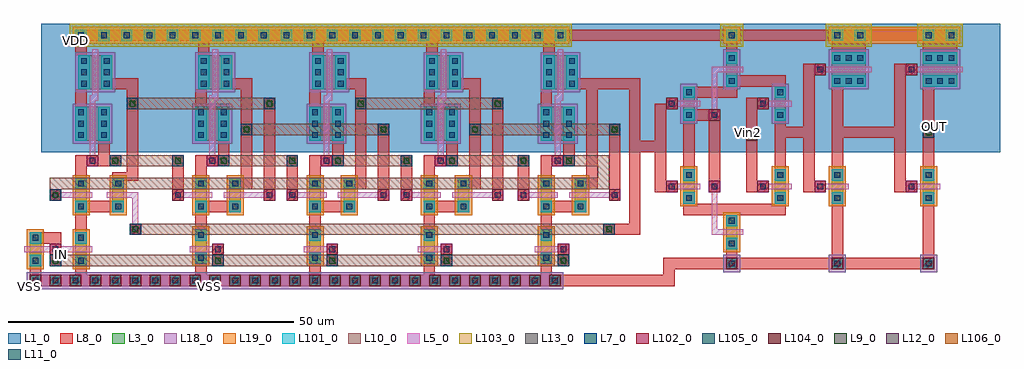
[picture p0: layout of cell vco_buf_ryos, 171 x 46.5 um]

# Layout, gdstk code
from math import pi, radians
import gdstk
lib = gdstk.Library(unit=1e-6, precision=1e-09)
def R(c, l, rs):  # rectangles x0, y0, x1, y1
    for r in rs: c.add(gdstk.rectangle(r[:2], r[2:], *l))
def A(c, l, x, y, w, h, nx, ny, dx, dy):  # array of equal rectangles
    R(c, l, [(x+i*dx, y+j*dy, x+i*dx+w, y+j*dy+h) for i in range(nx) for j in range(ny)])
L1_0 = (1, 0)
L3_0 = (3, 0)
L5_0 = (5, 0)
L7_0 = (7, 0)
L8_0 = (8, 0)
L9_0 = (9, 0)
L10_0 = (10, 0)
L11_0 = (11, 0)
L12_0 = (12, 0)
L13_0 = (13, 0)
L18_0 = (18, 0)
L19_0 = (19, 0)
L101_0 = (101, 0)
L102_0 = (102, 0)
L103_0 = (103, 0)
L104_0 = (104, 0)
L105_0 = (105, 0)
L106_0 = (106, 0)

pcont = lib.new_cell('pcont')
R(pcont, L5_0, [(-1,-1,1,1)])
R(pcont, L7_0, [(-0.5,-0.5,0.5,0.5)])
R(pcont, L8_0, [(-1,-1,1,1)])
R(pcont, L13_0, [(-0.5,-0.5,0.5,0.5)])
R(pcont, L102_0, [(-1,-1,1,1)])
pcont.add(gdstk.Label('pcont', (0,0), layer=13, texttype=0))

via = lib.new_cell('Via')
R(via, L8_0, [(-1,-1,1,1)])
R(via, L9_0, [(-0.5,-0.5,0.5,0.5)])
R(via, L10_0, [(-1,-1,1,1)])
R(via, L13_0, [(-0.5,-0.5,0.5,0.5)])
R(via, L105_0, [(-1,-1,1,1)])
via.add(gdstk.Label('via', (0,0), layer=13, texttype=0))

dcont = lib.new_cell('dcont')
R(dcont, L3_0, [(-1,-1,1,1)])
R(dcont, L7_0, [(-0.5,-0.5,0.5,0.5)])
R(dcont, L8_0, [(-1,-1,1,1)])
R(dcont, L13_0, [(-0.5,-0.5,0.5,0.5)])
R(dcont, L101_0, [(-1,-1,1,1)])
dcont.add(gdstk.Label('dcont', (0,0), layer=13, texttype=0))

nsubcont = lib.new_cell('nsubcont')
R(nsubcont, L1_0, [(-2,-2,2,2)])
R(nsubcont, L19_0, [(-1.5,-1.5,1.5,1.5)])
R(nsubcont, L103_0, [(-2,-2,2,2)])
nsubcont.add(gdstk.Reference(dcont, (0,0)))
nsubcont.add(gdstk.Label('NScont', (0,0), layer=13, texttype=0))

psubcont = lib.new_cell('psubcont')
R(psubcont, L18_0, [(-1.5,-1.5,1.5,1.5)])
R(psubcont, L104_0, [(-1,-1,1,1)])
psubcont.add(gdstk.Reference(dcont, (0,0)))
psubcont.add(gdstk.Label('PScon', (0,0), layer=13, texttype=0))

via2 = lib.new_cell('Via2')
R(via2, L10_0, [(-1,-1,1,1)])
R(via2, L11_0, [(-0.5,-0.5,0.5,0.5)])
R(via2, L12_0, [(-1,-1,1,1)])
R(via2, L13_0, [(-0.5,-0.5,0.5,0.5)])
R(via2, L106_0, [(-1,-1,1,1)])
via2.add(gdstk.Label('via', (0,0), layer=13, texttype=0))

vco_buf_ryos = lib.new_cell('vco_buf_ryos')
R(vco_buf_ryos, L1_0, [(-11,13,157,35.5)])
A(vco_buf_ryos, L3_0, 16, -4.5, 2, 2, 3, 1, 20, 0)
R(vco_buf_ryos, L3_0, [(-13,-5,-11,-3), (-5,-5,-3,-3), (76.5,-4.5,78.5,-2.5), (109,-4,111,2), (101.5,4,103.5,10), (117.5,4,119.5,10), (127.5,4,129.5,10), (143.5,4,145.5,10), (-5,4.5,-3,6.5), (1.5,4.5,3.5,6.5), (16,4.5,18,6.5), (16,4.5,18,6.5), (22,4.5,24,6.5), (22,4.5,24,6.5), (36,4.5,38,6.5), (36,4.5,38,6.5), (42,4.5,44,6.5), (42,4.5,44,6.5), (56,4.5,58,6.5), (56,4.5,58,6.5), (62,4.5,64,6.5), (62,4.5,64,6.5), (76.5,4.5,78.5,6.5), (76.5,4.5,78.5,6.5), (82.5,4.5,84.5,6.5), (82.5,4.5,84.5,6.5), (-5,15,1,21), (16,15,22,21), (16,15,22,21), (36,15,42,21), (36,15,42,21), (56,15,62,21), (56,15,62,21), (76.5,15,82.5,21), (76.5,15,82.5,21), (101.5,18.5,103.5,24.5), (117.5,18.5,119.5,24.5), (-4.5,24,1.5,30), (16.5,24,22.5,30), (16.5,24,22.5,30), (36.5,24,42.5,30), (36.5,24,42.5,30), (56.5,24,62.5,30), (56.5,24,62.5,30), (77,24,83,30), (77,24,83,30), (109,24.5,111,30.5), (127.5,24.5,133.5,30.5), (143.5,24.5,149.5,30.5)])
R(vco_buf_ryos, L5_0, [(-14,-4.5,-9.5,-3.5), (-7.5,5,-2,6), (13.5,5,19,6), (53.5,5,59,6), (53.5,5,59,6)])
A(vco_buf_ryos, L8_0, 16, -8.5, 2, 2, 3, 1, 20, 0)
A(vco_buf_ryos, L8_0, 16, -0.5, 2, 3, 3, 1, 20, 0)
A(vco_buf_ryos, L8_0, 18, 2.5, 4, 2, 3, 1, 20, 0)
A(vco_buf_ryos, L8_0, 24, 6.5, 2, 17.5, 3, 1, 20, 0)
A(vco_buf_ryos, L8_0, 20, 12.5, 2, 2.5, 3, 1, 20, 0)
A(vco_buf_ryos, L8_0, 16.5, 30, 2, 3, 3, 1, 20, 0)
R(vco_buf_ryos, L8_0, [(-11,-10.5,80,-8.5), (-13,-8.5,-11,-6.5), (76.5,-8.5,78.5,-6.5), (-11,-3,-7.5,-1), (-5,-1,-3,2.5), (76.5,-0.5,78.5,2.5), (-3,2.5,1.5,4.5), (78.5,2.5,82.5,4.5), (12,6.5,14,12), (12,6.5,14,12), (24,6.5,26,24), (28,6.5,30,20.5), (28,6.5,30,20.5), (32,6.5,34,10.5), (48,6.5,50,16), (52,6.5,54,12), (52,6.5,54,12), (64,6.5,66,24), (68,6.5,70,20.5), (68,6.5,70,20.5), (72.5,6.5,74.5,10.5), (84.5,6.5,86.5,24), (88.5,6.5,90.5,16), (1.5,8,6,9.5), (-5,8.5,-3,12.5), (16,8.5,18,12.5), (16,8.5,18,12.5), (36,8.5,38,12.5), (36,8.5,38,12.5), (56,8.5,58,12.5), (56,8.5,58,12.5), (76.5,8.5,78.5,12.5), (76.5,8.5,78.5,12.5), (4,9.5,6,24), (-1,10.5,1,12.5), (20,10.5,22,12.5), (20,10.5,22,12.5), (40,10.5,42,12.5), (40,10.5,42,12.5), (60,10.5,62,12.5), (60,10.5,62,12.5), (80.5,10.5,82.5,12.5), (80.5,10.5,82.5,12.5), (-1,12.5,1,15), (20,12.5,22,15), (60,12.5,62,15), (80.5,12.5,82.5,15), (93.5,13,97,15), (-5,21,-3,24), (16,21,18,24), (16,21,18,24), (36,21,38,24), (36,21,38,24), (56,21,58,24), (56,21,58,24), (76.5,21,78.5,24), (76.5,21,78.5,24), (1.5,24,6,26), (22.5,24,26,26), (22.5,24,26,26), (42.5,24,46,26), (42.5,24,46,26), (62.5,24,66,26), (62.5,24,66,26), (83,24,86.5,26), (83,24,86.5,26), (-5,30,-3,32.5), (77,30,79,33), (109,30.5,111,32.5), (127.5,30.5,133.5,32.5), (143.5,30.5,149.5,32.5), (-3,32.5,81,34.5), (81,32.5,109,34.5)])
R(vco_buf_ryos, L10_0, [(-7.5,-7,79.5,-5), (3,10.5,14,12.5), (22,10.5,32,12.5), (42,10.5,52,12.5), (62,10.5,72.5,12.5), (26,16,48,18), (66,16,88.5,18), (6,20.5,29.5,22.5), (46,20.5,68,22.5)])
R(vco_buf_ryos, L18_0, [(-13.5,-11,80.5,-8), (-5.5,14.5,1.5,21.5), (15.5,14.5,22.5,21.5), (15.5,14.5,22.5,21.5), (35.5,14.5,42.5,21.5), (35.5,14.5,42.5,21.5), (55.5,14.5,62.5,21.5), (55.5,14.5,62.5,21.5), (76,14.5,83,21.5), (76,14.5,83,21.5), (101,18,104,25), (117,18,120,25), (-5,23.5,2,30.5), (16,23.5,23,30.5), (16,23.5,23,30.5), (36,23.5,43,30.5), (36,23.5,43,30.5), (56,23.5,63,30.5), (56,23.5,63,30.5), (76.5,23.5,83.5,30.5), (76.5,23.5,83.5,30.5), (108.5,24,111.5,31), (127,24,134,31), (143,24,150,31)])
A(vco_buf_ryos, L19_0, 15.5, -7, 3, 7, 3, 1, 20, 0)
R(vco_buf_ryos, L19_0, [(-13.5,-7.5,-10.5,-0.5), (-5.5,-7.5,-2.5,-0.5), (76,-7,79,0), (108.5,-4.5,111.5,2.5), (-5.5,2,-2.5,9), (1,2,4,9), (15.5,2,18.5,9), (15.5,2,18.5,9), (21.5,2,24.5,9), (21.5,2,24.5,9), (35.5,2,38.5,9), (35.5,2,38.5,9), (41.5,2,44.5,9), (41.5,2,44.5,9), (55.5,2,58.5,9), (55.5,2,58.5,9), (61.5,2,64.5,9), (61.5,2,64.5,9), (76,2,79,9), (76,2,79,9), (82,2,85,9), (82,2,85,9), (101,3.5,104,10.5), (117,3.5,120,10.5), (127,3.5,130,10.5), (143,3.5,146,10.5), (-5.5,32,81.5,35), (127,32,150,35)])
vco_buf_ryos.add(gdstk.FlexPath([(128.5,4),(128.5,-5.5),(128.5,-5.5)], 2, ends="flush", simple_path=True, layer=8, datatype=0))  # L8_0
vco_buf_ryos.add(gdstk.FlexPath([(111,33.5),(147.5,33.5),(147.5,33.5)], 2, ends="flush", simple_path=True, layer=8, datatype=0))  # L8_0
vco_buf_ryos.add(gdstk.FlexPath([(144.5,4),(144.5,-5.5)], 2, ends="flush", simple_path=True, layer=8, datatype=0))  # L8_0
vco_buf_ryos.add(gdstk.FlexPath([(111,-6.5),(128,-6.5)], 2, ends="flush", simple_path=True, layer=8, datatype=0))  # L8_0
vco_buf_ryos.add(gdstk.FlexPath([(129.5,-6.5),(143.5,-6.5)], 2, ends="flush", simple_path=True, layer=8, datatype=0))  # L8_0
vco_buf_ryos.add(gdstk.FlexPath([(129.5,16.5),(138.5,16.5)], 2, ends="flush", simple_path=True, layer=8, datatype=0))  # L8_0
vco_buf_ryos.add(gdstk.FlexPath([(139.5,28.5),(139.5,6)], 2, ends="flush", simple_path=True, layer=8, datatype=0))  # L8_0
vco_buf_ryos.add(gdstk.FlexPath([(144.5,24.5),(144.5,10)], 2, ends="flush", simple_path=True, layer=8, datatype=0))  # L8_0
vco_buf_ryos.add(gdstk.FlexPath([(86.5,25),(93,25),(93,19),(93,19),(93,-0.5),(87.5,-0.5)], 2, ends="flush", simple_path=True, layer=8, datatype=0))  # L8_0
vco_buf_ryos.add(gdstk.FlexPath([(118.5,19.5),(118.5,10)], 2, ends="flush", simple_path=True, layer=8, datatype=0))  # L8_0
vco_buf_ryos.add(gdstk.FlexPath([(110,-4),(110,-5.5),(110,-5.5)], 2, ends="flush", simple_path=True, layer=8, datatype=0))  # L8_0
vco_buf_ryos.add(gdstk.FlexPath([(128.5,24.5),(128.5,10)], 2, ends="flush", simple_path=True, layer=8, datatype=0))  # L8_0
vco_buf_ryos.add(gdstk.FlexPath([(111,25.5),(119.5,25.5)], 2, ends="flush", simple_path=True, layer=8, datatype=0))  # L8_0
vco_buf_ryos.add(gdstk.FlexPath([(103.5,23.5),(111,23.5)], 2, ends="flush", simple_path=True, layer=8, datatype=0))  # L8_0
vco_buf_ryos.add(gdstk.FlexPath([(102.5,18.5),(102.5,10)], 2, ends="flush", simple_path=True, layer=8, datatype=0))  # L8_0
vco_buf_ryos.add(gdstk.FlexPath([(103.5,19.5),(106,19.5)], 2, ends="flush", simple_path=True, layer=8, datatype=0))  # L8_0
vco_buf_ryos.add(gdstk.FlexPath([(107,18.5),(107,8)], 2, ends="flush", simple_path=True, layer=8, datatype=0))  # L8_0
vco_buf_ryos.add(gdstk.FlexPath([(101.5,3),(119.5,3)], 2, ends="flush", simple_path=True, layer=8, datatype=0))  # L8_0
vco_buf_ryos.add(gdstk.FlexPath([(119.5,16.5),(122.5,16.5)], 2, ends="flush", simple_path=True, layer=8, datatype=0))  # L8_0
vco_buf_ryos.add(gdstk.FlexPath([(113.5,22.5),(113.5,6)], 2, ends="flush", simple_path=True, layer=8, datatype=0))  # L8_0
vco_buf_ryos.add(gdstk.FlexPath([(123.5,28.5),(123.5,6)], 2, ends="flush", simple_path=True, layer=8, datatype=0))  # L8_0
vco_buf_ryos.add(gdstk.FlexPath([(97.5,21.5),(97.5,6)], 2, ends="flush", simple_path=True, layer=8, datatype=0))  # L8_0
vco_buf_ryos.add(gdstk.FlexPath([(109,-6.5),(99,-6.5),(99,-9.5),(80,-9.5)], 2, ends="flush", simple_path=True, layer=8, datatype=0))  # L8_0
vco_buf_ryos.add(gdstk.FlexPath([(-4,-6.5),(-4,-10)], 2, ends="flush", simple_path=True, layer=8, datatype=0))  # L8_0
vco_buf_ryos.add(gdstk.FlexPath([(88.5,7.5),(-8.5,7.5),(-8.5,4.5)], 2, ends="flush", simple_path=True, layer=10, datatype=0))  # L10_0
vco_buf_ryos.add(gdstk.FlexPath([(87.5,-0.5),(6.5,-0.5)], 2, ends="flush", simple_path=True, layer=10, datatype=0))  # L10_0
vco_buf_ryos.add(gdstk.FlexPath([(82.5,11.5),(87.5,11.5),(87.5,7.5)], 2, ends="flush", simple_path=True, layer=10, datatype=0))  # L10_0
vco_buf_ryos.add(gdstk.FlexPath([(142.5,7),(146.5,7)], 1, ends="flush", simple_path=True, layer=5, datatype=0))  # L5_0
vco_buf_ryos.add(gdstk.FlexPath([(142,27.5),(150.5,27.5)], 1, ends="flush", simple_path=True, layer=5, datatype=0))  # L5_0
vco_buf_ryos.add(gdstk.FlexPath([(126.5,7),(130.5,7)], 1, ends="flush", simple_path=True, layer=5, datatype=0))  # L5_0
vco_buf_ryos.add(gdstk.FlexPath([(116.5,21.5),(120.5,21.5)], 1, ends="flush", simple_path=True, layer=5, datatype=0))  # L5_0
vco_buf_ryos.add(gdstk.FlexPath([(108,27.5),(112,27.5)], 1, ends="flush", simple_path=True, layer=5, datatype=0))  # L5_0
vco_buf_ryos.add(gdstk.FlexPath([(100.5,21.5),(104.5,21.5)], 1, ends="flush", simple_path=True, layer=5, datatype=0))  # L5_0
vco_buf_ryos.add(gdstk.FlexPath([(126,27.5),(134.5,27.5)], 1, ends="flush", simple_path=True, layer=5, datatype=0))  # L5_0
vco_buf_ryos.add(gdstk.FlexPath([(108,27.5),(107,27.5),(107,20.5)], 1, ends="flush", simple_path=True, layer=5, datatype=0))  # L5_0
vco_buf_ryos.add(gdstk.FlexPath([(116.5,7),(120.5,7)], 1, ends="flush", simple_path=True, layer=5, datatype=0))  # L5_0
vco_buf_ryos.add(gdstk.FlexPath([(100.5,7),(104.5,7)], 1, ends="flush", simple_path=True, layer=5, datatype=0))  # L5_0
vco_buf_ryos.add(gdstk.FlexPath([(108,-1),(112,-1)], 1, ends="flush", simple_path=True, layer=5, datatype=0))  # L5_0
vco_buf_ryos.add(gdstk.FlexPath([(107,6),(107,-1),(108,-1)], 1, ends="flush", simple_path=True, layer=5, datatype=0))  # L5_0
vco_buf_ryos.add(gdstk.FlexPath([(21,5.5),(29,5.5),(29,5.5)], 1, ends="flush", simple_path=True, layer=5, datatype=0))  # L5_0
vco_buf_ryos.add(gdstk.FlexPath([(0.5,5.5),(4.5,5.5),(4.5,5.5)], 1, ends="flush", simple_path=True, layer=5, datatype=0))  # L5_0
vco_buf_ryos.add(gdstk.FlexPath([(39.5,31),(39.5,22.5),(39,22.5),(39,22)], 1, ends="flush", simple_path=True, layer=5, datatype=0))  # L5_0
vco_buf_ryos.add(gdstk.FlexPath([(39.5,31),(39.5,22.5),(39,22.5),(39,22)], 1, ends="flush", simple_path=True, layer=5, datatype=0))  # L5_0
vco_buf_ryos.add(gdstk.FlexPath([(39,22),(39,12.5),(39,12.5),(39,12.5),(39,12.5)], 1, ends="flush", simple_path=True, layer=5, datatype=0))  # L5_0
vco_buf_ryos.add(gdstk.FlexPath([(41,5.5),(49,5.5),(49,5.5)], 1, ends="flush", simple_path=True, layer=5, datatype=0))  # L5_0
vco_buf_ryos.add(gdstk.FlexPath([(41,5.5),(49,5.5),(49,5.5)], 1, ends="flush", simple_path=True, layer=5, datatype=0))  # L5_0
vco_buf_ryos.add(gdstk.FlexPath([(55,-4),(59,-4),(59,-4)], 1, ends="flush", simple_path=True, layer=5, datatype=0))  # L5_0
vco_buf_ryos.add(gdstk.FlexPath([(39,5.5),(34.5,5.5),(34,5.5)], 1, ends="flush", simple_path=True, layer=5, datatype=0))  # L5_0
vco_buf_ryos.add(gdstk.FlexPath([(61,5.5),(69,5.5),(69,5.5)], 1, ends="flush", simple_path=True, layer=5, datatype=0))  # L5_0
vco_buf_ryos.add(gdstk.FlexPath([(59.5,31),(59.5,22.5),(59,22.5),(59,22)], 1, ends="flush", simple_path=True, layer=5, datatype=0))  # L5_0
vco_buf_ryos.add(gdstk.FlexPath([(59,22),(59,10.5),(59,10.5)], 1, ends="flush", simple_path=True, layer=5, datatype=0))  # L5_0
vco_buf_ryos.add(gdstk.FlexPath([(61,5.5),(69,5.5),(69,5.5)], 1, ends="flush", simple_path=True, layer=5, datatype=0))  # L5_0
vco_buf_ryos.add(gdstk.FlexPath([(59,22),(59,10.5),(59,10.5)], 1, ends="flush", simple_path=True, layer=5, datatype=0))  # L5_0
vco_buf_ryos.add(gdstk.FlexPath([(59.5,31),(59.5,22.5),(59,22.5),(59,22)], 1, ends="flush", simple_path=True, layer=5, datatype=0))  # L5_0
vco_buf_ryos.add(gdstk.FlexPath([(80,31),(80,22.5),(79.5,22.5),(79.5,22)], 1, ends="flush", simple_path=True, layer=5, datatype=0))  # L5_0
vco_buf_ryos.add(gdstk.FlexPath([(80,31),(80,22.5),(79.5,22.5),(79.5,22)], 1, ends="flush", simple_path=True, layer=5, datatype=0))  # L5_0
vco_buf_ryos.add(gdstk.FlexPath([(79.5,22),(79.5,12.5),(79.5,12.5),(79.5,12.5),(79.5,12.5)], 1, ends="flush", simple_path=True, layer=5, datatype=0))  # L5_0
vco_buf_ryos.add(gdstk.FlexPath([(81.5,5.5),(89.5,5.5),(89.5,5.5)], 1, ends="flush", simple_path=True, layer=5, datatype=0))  # L5_0
vco_buf_ryos.add(gdstk.FlexPath([(81.5,5.5),(89.5,5.5),(89.5,5.5)], 1, ends="flush", simple_path=True, layer=5, datatype=0))  # L5_0
vco_buf_ryos.add(gdstk.FlexPath([(79.5,5.5),(75,5.5),(74.5,5.5)], 1, ends="flush", simple_path=True, layer=5, datatype=0))  # L5_0
vco_buf_ryos.add(gdstk.FlexPath([(75.5,-4),(79.5,-4),(79.5,-4)], 1, ends="flush", simple_path=True, layer=5, datatype=0))  # L5_0
vco_buf_ryos.add(gdstk.FlexPath([(4.5,5.5),(5.5,5.5),(5.5,0.5)], 1, ends="flush", simple_path=True, layer=5, datatype=0))  # L5_0
vco_buf_ryos.add(gdstk.FlexPath([(-8,-4),(-2,-4)], 1, ends="flush", simple_path=True, layer=5, datatype=0))  # L5_0
vco_buf_ryos.add(gdstk.FlexPath([(15,-4),(19,-4),(19,-4)], 1, ends="flush", simple_path=True, layer=5, datatype=0))  # L5_0
vco_buf_ryos.add(gdstk.FlexPath([(35,-4),(39,-4),(39,-4)], 1, ends="flush", simple_path=True, layer=5, datatype=0))  # L5_0
vco_buf_ryos.add(gdstk.FlexPath([(19.5,31),(19.5,22.5),(19,22.5),(19,22)], 1, ends="flush", simple_path=True, layer=5, datatype=0))  # L5_0
vco_buf_ryos.add(gdstk.FlexPath([(19,22),(19,10.5),(19,10.5)], 1, ends="flush", simple_path=True, layer=5, datatype=0))  # L5_0
vco_buf_ryos.add(gdstk.FlexPath([(19,22),(19,10.5),(19,10.5)], 1, ends="flush", simple_path=True, layer=5, datatype=0))  # L5_0
vco_buf_ryos.add(gdstk.FlexPath([(19.5,31),(19.5,22.5),(19,22.5),(19,22)], 1, ends="flush", simple_path=True, layer=5, datatype=0))  # L5_0
vco_buf_ryos.add(gdstk.FlexPath([(-1.5,31),(-1.5,22.5),(-2,22.5),(-2,22)], 1, ends="flush", simple_path=True, layer=5, datatype=0))  # L5_0
vco_buf_ryos.add(gdstk.FlexPath([(-2,22),(-2,10.5),(-2,10.5)], 1, ends="flush", simple_path=True, layer=5, datatype=0))  # L5_0
vco_buf_ryos.add(gdstk.Reference(pcont, (-2,11.5), rotation=pi))
vco_buf_ryos.add(gdstk.Reference(via, (2,11.5), rotation=pi))
vco_buf_ryos.add(gdstk.Reference(via, (13,11.5), rotation=pi))
vco_buf_ryos.add(gdstk.Reference(pcont, (19,11.5), rotation=pi))
vco_buf_ryos.add(gdstk.Reference(pcont, (19,11.5), rotation=pi))
vco_buf_ryos.add(gdstk.Reference(via, (13,11.5), rotation=pi))
vco_buf_ryos.add(gdstk.Reference(pcont, (39,11.5), rotation=pi))
vco_buf_ryos.add(gdstk.Reference(pcont, (39,11.5), rotation=pi))
vco_buf_ryos.add(gdstk.Reference(via, (41,11.5), rotation=pi))
vco_buf_ryos.add(gdstk.Reference(via, (21,11.5), rotation=pi))
vco_buf_ryos.add(gdstk.Reference(via, (33,11.5), rotation=pi))
vco_buf_ryos.add(gdstk.Reference(via, (53,11.5), rotation=pi))
vco_buf_ryos.add(gdstk.Reference(pcont, (59,11.5), rotation=pi))
vco_buf_ryos.add(gdstk.Reference(pcont, (59,11.5), rotation=pi))
vco_buf_ryos.add(gdstk.Reference(via, (53,11.5), rotation=pi))
vco_buf_ryos.add(gdstk.Reference(via, (61,11.5), rotation=pi))
vco_buf_ryos.add(gdstk.Reference(pcont, (79.5,11.5), rotation=pi))
vco_buf_ryos.add(gdstk.Reference(pcont, (79.5,11.5), rotation=pi))
vco_buf_ryos.add(gdstk.Reference(via, (81.5,11.5), rotation=pi))
vco_buf_ryos.add(gdstk.Reference(via, (73.5,11.5), rotation=pi))
vco_buf_ryos.add(gdstk.Reference(via, (69,21.5), rotation=pi))
vco_buf_ryos.add(gdstk.Reference(via, (69,21.5), rotation=pi))
vco_buf_ryos.add(gdstk.Reference(nsubcont, (68,33.5), rotation=pi))
vco_buf_ryos.add(gdstk.Reference(pcont, (69,5.5), rotation=pi))
vco_buf_ryos.add(gdstk.Reference(psubcont, (68.5,-9.5), rotation=pi))
vco_buf_ryos.add(gdstk.Reference(pcont, (69,5.5), rotation=pi))
vco_buf_ryos.add(gdstk.Reference(dcont, (82,29), rotation=pi))
vco_buf_ryos.add(gdstk.Reference(dcont, (78,29), rotation=pi))
vco_buf_ryos.add(gdstk.Reference(dcont, (81.5,16), rotation=pi))
vco_buf_ryos.add(gdstk.Reference(dcont, (81.5,18), rotation=pi))
vco_buf_ryos.add(gdstk.Reference(dcont, (77.5,16), rotation=pi))
vco_buf_ryos.add(gdstk.Reference(dcont, (77.5,18), rotation=pi))
vco_buf_ryos.add(gdstk.Reference(dcont, (81.5,20), rotation=pi))
vco_buf_ryos.add(gdstk.Reference(dcont, (77.5,20), rotation=pi))
vco_buf_ryos.add(gdstk.Reference(dcont, (77.5,20), rotation=pi))
vco_buf_ryos.add(gdstk.Reference(dcont, (81.5,20), rotation=pi))
vco_buf_ryos.add(gdstk.Reference(dcont, (77.5,18), rotation=pi))
vco_buf_ryos.add(gdstk.Reference(dcont, (77.5,16), rotation=pi))
vco_buf_ryos.add(gdstk.Reference(dcont, (81.5,18), rotation=pi))
vco_buf_ryos.add(gdstk.Reference(dcont, (81.5,16), rotation=pi))
vco_buf_ryos.add(gdstk.Reference(dcont, (78,29), rotation=pi))
vco_buf_ryos.add(gdstk.Reference(dcont, (82,29), rotation=pi))
vco_buf_ryos.add(gdstk.Reference(dcont, (78,27), rotation=pi))
vco_buf_ryos.add(gdstk.Reference(dcont, (78,25), rotation=pi))
vco_buf_ryos.add(gdstk.Reference(dcont, (82,27), rotation=pi))
vco_buf_ryos.add(gdstk.Reference(dcont, (82,25), rotation=pi))
vco_buf_ryos.add(gdstk.Reference(via, (89.5,17), rotation=pi))
vco_buf_ryos.add(gdstk.Reference(via, (89.5,17), rotation=pi))
vco_buf_ryos.add(gdstk.Reference(dcont, (82,25), rotation=pi))
vco_buf_ryos.add(gdstk.Reference(nsubcont, (72,33.5), rotation=pi))
vco_buf_ryos.add(gdstk.Reference(nsubcont, (76,33.5), rotation=pi))
vco_buf_ryos.add(gdstk.Reference(nsubcont, (80,33.5), rotation=pi))
vco_buf_ryos.add(gdstk.Reference(via, (113.5,16), rotation=pi))
vco_buf_ryos.add(gdstk.Reference(via2, (113.5,16), rotation=pi))
vco_buf_ryos.add(gdstk.Reference(dcont, (102.5,23.5), rotation=pi))
vco_buf_ryos.add(gdstk.Reference(pcont, (99.5,21.5), rotation=pi))
vco_buf_ryos.add(gdstk.Reference(dcont, (130.5,25.5), rotation=pi))
vco_buf_ryos.add(gdstk.Reference(dcont, (130.5,29.5), rotation=pi))
vco_buf_ryos.add(gdstk.Reference(dcont, (128.5,29.5), rotation=pi))
vco_buf_ryos.add(gdstk.Reference(dcont, (128.5,25.5), rotation=pi))
vco_buf_ryos.add(gdstk.Reference(dcont, (132.5,25.5), rotation=pi))
vco_buf_ryos.add(gdstk.Reference(dcont, (132.5,29.5), rotation=pi))
vco_buf_ryos.add(gdstk.Reference(pcont, (125.5,27.5), rotation=pi))
vco_buf_ryos.add(gdstk.Reference(dcont, (118.5,19.5), rotation=pi))
vco_buf_ryos.add(gdstk.Reference(dcont, (118.5,23.5), rotation=pi))
vco_buf_ryos.add(gdstk.Reference(pcont, (115.5,21.5), rotation=pi))
vco_buf_ryos.add(gdstk.Reference(dcont, (110,25.5), rotation=pi))
vco_buf_ryos.add(gdstk.Reference(dcont, (110,29.5), rotation=pi))
vco_buf_ryos.add(gdstk.Reference(pcont, (107,19.5), rotation=pi))
vco_buf_ryos.add(gdstk.Reference(dcont, (102.5,19.5), rotation=pi))
vco_buf_ryos.add(gdstk.Reference(nsubcont, (110,33.5), rotation=pi))
vco_buf_ryos.add(gdstk.Reference(dcont, (82,27), rotation=pi))
vco_buf_ryos.add(gdstk.Reference(dcont, (78,25), rotation=pi))
vco_buf_ryos.add(gdstk.Reference(dcont, (78,27), rotation=pi))
vco_buf_ryos.add(gdstk.Reference(dcont, (146.5,25.5), rotation=pi))
vco_buf_ryos.add(gdstk.Reference(dcont, (146.5,29.5), rotation=pi))
vco_buf_ryos.add(gdstk.Reference(dcont, (144.5,29.5), rotation=pi))
vco_buf_ryos.add(gdstk.Reference(dcont, (144.5,25.5), rotation=pi))
vco_buf_ryos.add(gdstk.Reference(dcont, (148.5,25.5), rotation=pi))
vco_buf_ryos.add(gdstk.Reference(dcont, (148.5,29.5), rotation=pi))
vco_buf_ryos.add(gdstk.Reference(nsubcont, (128.5,33.5), rotation=pi))
vco_buf_ryos.add(gdstk.Reference(nsubcont, (132.5,33.5), rotation=pi))
vco_buf_ryos.add(gdstk.Reference(nsubcont, (144.5,33.5), rotation=pi))
vco_buf_ryos.add(gdstk.Reference(nsubcont, (148.5,33.5), rotation=pi))
vco_buf_ryos.add(gdstk.Reference(via, (144.5,16.5), rotation=pi))
vco_buf_ryos.add(gdstk.Reference(pcont, (141.5,27.5), rotation=pi))
vco_buf_ryos.add(gdstk.Reference(nsubcont, (28,33.5), rotation=pi))
vco_buf_ryos.add(gdstk.Reference(nsubcont, (48,33.5), rotation=pi))
vco_buf_ryos.add(gdstk.Reference(nsubcont, (52,33.5), rotation=pi))
vco_buf_ryos.add(gdstk.Reference(nsubcont, (56,33.5), rotation=pi))
vco_buf_ryos.add(gdstk.Reference(nsubcont, (40,33.5), rotation=pi))
vco_buf_ryos.add(gdstk.Reference(dcont, (41.5,25), rotation=pi))
vco_buf_ryos.add(gdstk.Reference(dcont, (37.5,25), rotation=pi))
vco_buf_ryos.add(gdstk.Reference(dcont, (37.5,27), rotation=pi))
vco_buf_ryos.add(gdstk.Reference(dcont, (37.5,29), rotation=pi))
vco_buf_ryos.add(gdstk.Reference(dcont, (37.5,29), rotation=pi))
vco_buf_ryos.add(gdstk.Reference(dcont, (37.5,27), rotation=pi))
vco_buf_ryos.add(gdstk.Reference(dcont, (37.5,25), rotation=pi))
vco_buf_ryos.add(gdstk.Reference(nsubcont, (44,33.5), rotation=pi))
vco_buf_ryos.add(gdstk.Reference(nsubcont, (32,33.5), rotation=pi))
vco_buf_ryos.add(gdstk.Reference(nsubcont, (36,33.5), rotation=pi))
vco_buf_ryos.add(gdstk.Reference(dcont, (41.5,27), rotation=pi))
vco_buf_ryos.add(gdstk.Reference(dcont, (57.5,25), rotation=pi))
vco_buf_ryos.add(gdstk.Reference(dcont, (57.5,29), rotation=pi))
vco_buf_ryos.add(gdstk.Reference(dcont, (57.5,27), rotation=pi))
vco_buf_ryos.add(gdstk.Reference(dcont, (57.5,27), rotation=pi))
vco_buf_ryos.add(gdstk.Reference(dcont, (57.5,25), rotation=pi))
vco_buf_ryos.add(gdstk.Reference(dcont, (41.5,29), rotation=pi))
vco_buf_ryos.add(gdstk.Reference(dcont, (57.5,29), rotation=pi))
vco_buf_ryos.add(gdstk.Reference(dcont, (41.5,29), rotation=pi))
vco_buf_ryos.add(gdstk.Reference(dcont, (41.5,27), rotation=pi))
vco_buf_ryos.add(gdstk.Reference(dcont, (41.5,25), rotation=pi))
vco_buf_ryos.add(gdstk.Reference(dcont, (61.5,29), rotation=pi))
vco_buf_ryos.add(gdstk.Reference(nsubcont, (64,33.5), rotation=pi))
vco_buf_ryos.add(gdstk.Reference(dcont, (61.5,25), rotation=pi))
vco_buf_ryos.add(gdstk.Reference(dcont, (61.5,27), rotation=pi))
vco_buf_ryos.add(gdstk.Reference(dcont, (61.5,29), rotation=pi))
vco_buf_ryos.add(gdstk.Reference(dcont, (61.5,27), rotation=pi))
vco_buf_ryos.add(gdstk.Reference(dcont, (61.5,25), rotation=pi))
vco_buf_ryos.add(gdstk.Reference(nsubcont, (60,33.5), rotation=pi))
vco_buf_ryos.add(gdstk.Reference(dcont, (-3.5,25), rotation=pi))
vco_buf_ryos.add(gdstk.Reference(dcont, (17.5,29), rotation=pi))
vco_buf_ryos.add(gdstk.Reference(dcont, (21.5,29), rotation=pi))
vco_buf_ryos.add(gdstk.Reference(dcont, (17.5,27), rotation=pi))
vco_buf_ryos.add(gdstk.Reference(dcont, (17.5,25), rotation=pi))
vco_buf_ryos.add(gdstk.Reference(dcont, (21.5,27), rotation=pi))
vco_buf_ryos.add(gdstk.Reference(dcont, (21.5,25), rotation=pi))
vco_buf_ryos.add(gdstk.Reference(dcont, (0.5,27), rotation=pi))
vco_buf_ryos.add(gdstk.Reference(dcont, (0.5,25), rotation=pi))
vco_buf_ryos.add(gdstk.Reference(nsubcont, (0,33.5), rotation=pi))
vco_buf_ryos.add(gdstk.Reference(nsubcont, (-4,33.5), rotation=pi))
vco_buf_ryos.add(gdstk.Reference(dcont, (0.5,29), rotation=pi))
vco_buf_ryos.add(gdstk.Reference(dcont, (21.5,25), rotation=pi))
vco_buf_ryos.add(gdstk.Reference(dcont, (21.5,27), rotation=pi))
vco_buf_ryos.add(gdstk.Reference(dcont, (17.5,25), rotation=pi))
vco_buf_ryos.add(gdstk.Reference(dcont, (17.5,27), rotation=pi))
vco_buf_ryos.add(gdstk.Reference(dcont, (21.5,29), rotation=pi))
vco_buf_ryos.add(gdstk.Reference(dcont, (17.5,29), rotation=pi))
vco_buf_ryos.add(gdstk.Reference(nsubcont, (4,33.5), rotation=pi))
vco_buf_ryos.add(gdstk.Reference(nsubcont, (8,33.5), rotation=pi))
vco_buf_ryos.add(gdstk.Reference(nsubcont, (12,33.5), rotation=pi))
vco_buf_ryos.add(gdstk.Reference(nsubcont, (16,33.5), rotation=pi))
vco_buf_ryos.add(gdstk.Reference(nsubcont, (20,33.5), rotation=pi))
vco_buf_ryos.add(gdstk.Reference(nsubcont, (24,33.5), rotation=pi))
vco_buf_ryos.add(gdstk.Reference(dcont, (-3.5,29), rotation=pi))
vco_buf_ryos.add(gdstk.Reference(dcont, (-3.5,27), rotation=pi))
vco_buf_ryos.add(gdstk.Reference(dcont, (21,20), rotation=pi))
vco_buf_ryos.add(gdstk.Reference(dcont, (17,18), rotation=pi))
vco_buf_ryos.add(gdstk.Reference(dcont, (-4,20), rotation=pi))
vco_buf_ryos.add(gdstk.Reference(dcont, (-4,18), rotation=pi))
vco_buf_ryos.add(gdstk.Reference(dcont, (0,16), rotation=pi))
vco_buf_ryos.add(gdstk.Reference(via, (5,21.5), rotation=pi))
vco_buf_ryos.add(gdstk.Reference(dcont, (0,20), rotation=pi))
vco_buf_ryos.add(gdstk.Reference(dcont, (-4,16), rotation=pi))
vco_buf_ryos.add(gdstk.Reference(via, (25,17), rotation=pi))
vco_buf_ryos.add(gdstk.Reference(dcont, (21,16), rotation=pi))
vco_buf_ryos.add(gdstk.Reference(dcont, (21,18), rotation=pi))
vco_buf_ryos.add(gdstk.Reference(dcont, (17,16), rotation=pi))
vco_buf_ryos.add(gdstk.Reference(dcont, (21,18), rotation=pi))
vco_buf_ryos.add(gdstk.Reference(dcont, (21,16), rotation=pi))
vco_buf_ryos.add(gdstk.Reference(dcont, (0,18), rotation=pi))
vco_buf_ryos.add(gdstk.Reference(dcont, (17,16), rotation=pi))
vco_buf_ryos.add(gdstk.Reference(dcont, (17,18), rotation=pi))
vco_buf_ryos.add(gdstk.Reference(dcont, (21,20), rotation=pi))
vco_buf_ryos.add(gdstk.Reference(dcont, (17,20), rotation=pi))
vco_buf_ryos.add(gdstk.Reference(dcont, (17,20), rotation=pi))
vco_buf_ryos.add(gdstk.Reference(dcont, (37,20), rotation=pi))
vco_buf_ryos.add(gdstk.Reference(via, (29,21.5), rotation=pi))
vco_buf_ryos.add(gdstk.Reference(dcont, (41,20), rotation=pi))
vco_buf_ryos.add(gdstk.Reference(dcont, (41,18), rotation=pi))
vco_buf_ryos.add(gdstk.Reference(dcont, (41,16), rotation=pi))
vco_buf_ryos.add(gdstk.Reference(dcont, (41,16), rotation=pi))
vco_buf_ryos.add(gdstk.Reference(via, (45,21.5), rotation=pi))
vco_buf_ryos.add(gdstk.Reference(dcont, (41,18), rotation=pi))
vco_buf_ryos.add(gdstk.Reference(dcont, (57,16), rotation=pi))
vco_buf_ryos.add(gdstk.Reference(dcont, (57,18), rotation=pi))
vco_buf_ryos.add(gdstk.Reference(dcont, (37,20), rotation=pi))
vco_buf_ryos.add(gdstk.Reference(dcont, (57,20), rotation=pi))
vco_buf_ryos.add(gdstk.Reference(dcont, (37,18), rotation=pi))
vco_buf_ryos.add(gdstk.Reference(via, (49,17), rotation=pi))
vco_buf_ryos.add(gdstk.Reference(via, (49,17), rotation=pi))
vco_buf_ryos.add(gdstk.Reference(via, (65,17), rotation=pi))
vco_buf_ryos.add(gdstk.Reference(via, (29,21.5), rotation=pi))
vco_buf_ryos.add(gdstk.Reference(dcont, (61,16), rotation=pi))
vco_buf_ryos.add(gdstk.Reference(dcont, (61,18), rotation=pi))
vco_buf_ryos.add(gdstk.Reference(dcont, (37,16), rotation=pi))
vco_buf_ryos.add(gdstk.Reference(dcont, (61,20), rotation=pi))
vco_buf_ryos.add(gdstk.Reference(dcont, (61,20), rotation=pi))
vco_buf_ryos.add(gdstk.Reference(dcont, (61,18), rotation=pi))
vco_buf_ryos.add(gdstk.Reference(dcont, (61,16), rotation=pi))
vco_buf_ryos.add(gdstk.Reference(dcont, (57,20), rotation=pi))
vco_buf_ryos.add(gdstk.Reference(dcont, (41,20), rotation=pi))
vco_buf_ryos.add(gdstk.Reference(dcont, (57,18), rotation=pi))
vco_buf_ryos.add(gdstk.Reference(dcont, (37,16), rotation=pi))
vco_buf_ryos.add(gdstk.Reference(dcont, (37,18), rotation=pi))
vco_buf_ryos.add(gdstk.Reference(dcont, (57,16), rotation=pi))
vco_buf_ryos.add(gdstk.Reference(psubcont, (12.5,-9.5), rotation=pi))
vco_buf_ryos.add(gdstk.Reference(psubcont, (9,-9.5), rotation=pi))
vco_buf_ryos.add(gdstk.Reference(psubcont, (5.5,-9.5), rotation=pi))
vco_buf_ryos.add(gdstk.Reference(psubcont, (2,-9.5), rotation=pi))
vco_buf_ryos.add(gdstk.Reference(psubcont, (-1.5,-9.5), rotation=pi))
vco_buf_ryos.add(gdstk.Reference(psubcont, (-5,-9.5), rotation=pi))
vco_buf_ryos.add(gdstk.Reference(psubcont, (-8.5,-9.5), rotation=pi))
vco_buf_ryos.add(gdstk.Reference(psubcont, (-12,-9.5), rotation=pi))
vco_buf_ryos.add(gdstk.Reference(psubcont, (37,-9.5), rotation=pi))
vco_buf_ryos.add(gdstk.Reference(psubcont, (33.5,-9.5), rotation=pi))
vco_buf_ryos.add(gdstk.Reference(psubcont, (30,-9.5), rotation=pi))
vco_buf_ryos.add(gdstk.Reference(psubcont, (26.5,-9.5), rotation=pi))
vco_buf_ryos.add(gdstk.Reference(psubcont, (23,-9.5), rotation=pi))
vco_buf_ryos.add(gdstk.Reference(psubcont, (19.5,-9.5), rotation=pi))
vco_buf_ryos.add(gdstk.Reference(dcont, (57,3.5), rotation=pi))
vco_buf_ryos.add(gdstk.Reference(dcont, (57,7.5), rotation=pi))
vco_buf_ryos.add(gdstk.Reference(dcont, (43,3.5), rotation=pi))
vco_buf_ryos.add(gdstk.Reference(pcont, (49,5.5), rotation=pi))
vco_buf_ryos.add(gdstk.Reference(pcont, (49,5.5), rotation=pi))
vco_buf_ryos.add(gdstk.Reference(via, (40,-6), rotation=pi))
vco_buf_ryos.add(gdstk.Reference(pcont, (40,-4), rotation=pi))
vco_buf_ryos.add(gdstk.Reference(dcont, (43,3.5), rotation=pi))
vco_buf_ryos.add(gdstk.Reference(dcont, (57,-5.5), rotation=pi))
vco_buf_ryos.add(gdstk.Reference(dcont, (57,-1.5), rotation=pi))
vco_buf_ryos.add(gdstk.Reference(dcont, (37,-1.5), rotation=pi))
vco_buf_ryos.add(gdstk.Reference(dcont, (57,7.5), rotation=pi))
vco_buf_ryos.add(gdstk.Reference(dcont, (57,3.5), rotation=pi))
vco_buf_ryos.add(gdstk.Reference(pcont, (53,5.5), rotation=pi))
vco_buf_ryos.add(gdstk.Reference(dcont, (43,7.5), rotation=pi))
vco_buf_ryos.add(gdstk.Reference(dcont, (-12,-6), rotation=pi))
vco_buf_ryos.add(gdstk.Reference(dcont, (43,7.5), rotation=pi))
vco_buf_ryos.add(gdstk.Reference(pcont, (53,5.5), rotation=pi))
vco_buf_ryos.add(gdstk.Reference(psubcont, (47.5,-9.5), rotation=pi))
vco_buf_ryos.add(gdstk.Reference(psubcont, (44,-9.5), rotation=pi))
vco_buf_ryos.add(gdstk.Reference(psubcont, (40.5,-9.5), rotation=pi))
vco_buf_ryos.add(gdstk.Reference(psubcont, (58,-9.5), rotation=pi))
vco_buf_ryos.add(gdstk.Reference(psubcont, (54.5,-9.5), rotation=pi))
vco_buf_ryos.add(gdstk.Reference(psubcont, (51,-9.5), rotation=pi))
vco_buf_ryos.add(gdstk.Reference(dcont, (-12,-2), rotation=pi))
vco_buf_ryos.add(gdstk.Reference(pcont, (29,5.5), rotation=pi))
vco_buf_ryos.add(gdstk.Reference(pcont, (-8.5,-4), rotation=pi))
vco_buf_ryos.add(gdstk.Reference(pcont, (13,5.5), rotation=pi))
vco_buf_ryos.add(gdstk.Reference(dcont, (23,3.5), rotation=pi))
vco_buf_ryos.add(gdstk.Reference(dcont, (23,7.5), rotation=pi))
vco_buf_ryos.add(gdstk.Reference(dcont, (17,3.5), rotation=pi))
vco_buf_ryos.add(gdstk.Reference(dcont, (17,7.5), rotation=pi))
vco_buf_ryos.add(gdstk.Reference(dcont, (-4,7.5), rotation=pi))
vco_buf_ryos.add(gdstk.Reference(dcont, (-4,3.5), rotation=pi))
vco_buf_ryos.add(gdstk.Reference(dcont, (17,7.5), rotation=pi))
vco_buf_ryos.add(gdstk.Reference(pcont, (29,5.5), rotation=pi))
vco_buf_ryos.add(gdstk.Reference(dcont, (23,7.5), rotation=pi))
vco_buf_ryos.add(gdstk.Reference(pcont, (13,5.5), rotation=pi))
vco_buf_ryos.add(gdstk.Reference(dcont, (2.5,7.5), rotation=pi))
vco_buf_ryos.add(gdstk.Reference(dcont, (2.5,3.5), rotation=pi))
vco_buf_ryos.add(gdstk.Reference(via, (20,-6), rotation=pi))
vco_buf_ryos.add(gdstk.Reference(dcont, (37,7.5), rotation=pi))
vco_buf_ryos.add(gdstk.Reference(dcont, (37,3.5), rotation=pi))
vco_buf_ryos.add(gdstk.Reference(via, (5.5,-0.5), rotation=pi))
vco_buf_ryos.add(gdstk.Reference(pcont, (33,5.5), rotation=pi))
vco_buf_ryos.add(gdstk.Reference(pcont, (60,-4), rotation=pi))
vco_buf_ryos.add(gdstk.Reference(via, (60,-6), rotation=pi))
vco_buf_ryos.add(gdstk.Reference(psubcont, (65,-9.5), rotation=pi))
vco_buf_ryos.add(gdstk.Reference(psubcont, (61.5,-9.5), rotation=pi))
vco_buf_ryos.add(gdstk.Reference(pcont, (5.5,-0.5), rotation=pi))
vco_buf_ryos.add(gdstk.Reference(dcont, (63,3.5), rotation=pi))
vco_buf_ryos.add(gdstk.Reference(dcont, (63,7.5), rotation=pi))
vco_buf_ryos.add(gdstk.Reference(dcont, (63,7.5), rotation=pi))
vco_buf_ryos.add(gdstk.Reference(dcont, (63,3.5), rotation=pi))
vco_buf_ryos.add(gdstk.Reference(pcont, (-8.5,5.5), rotation=pi))
vco_buf_ryos.add(gdstk.Reference(via, (-8.5,5.5), rotation=pi))
vco_buf_ryos.add(gdstk.Reference(dcont, (-4,-6), rotation=pi))
vco_buf_ryos.add(gdstk.Reference(dcont, (-4,-2), rotation=pi))
vco_buf_ryos.add(gdstk.Reference(dcont, (17,-5.5), rotation=pi))
vco_buf_ryos.add(gdstk.Reference(dcont, (17,-1.5), rotation=pi))
vco_buf_ryos.add(gdstk.Reference(dcont, (37,3.5), rotation=pi))
vco_buf_ryos.add(gdstk.Reference(dcont, (37,7.5), rotation=pi))
vco_buf_ryos.add(gdstk.Reference(pcont, (20,-4), rotation=pi))
vco_buf_ryos.add(gdstk.Reference(via, (-8.5,-6), rotation=pi))
vco_buf_ryos.add(gdstk.Reference(dcont, (37,-5.5), rotation=pi))
vco_buf_ryos.add(gdstk.Reference(psubcont, (16,-9.5), rotation=pi))
vco_buf_ryos.add(gdstk.Reference(dcont, (77.5,7.5), rotation=pi))
vco_buf_ryos.add(gdstk.Reference(dcont, (77.5,3.5), rotation=pi))
vco_buf_ryos.add(gdstk.Reference(dcont, (83.5,3.5), rotation=pi))
vco_buf_ryos.add(gdstk.Reference(dcont, (83.5,7.5), rotation=pi))
vco_buf_ryos.add(gdstk.Reference(dcont, (83.5,7.5), rotation=pi))
vco_buf_ryos.add(gdstk.Reference(dcont, (118.5,5), rotation=pi))
vco_buf_ryos.add(gdstk.Reference(dcont, (110,-3), rotation=pi))
vco_buf_ryos.add(gdstk.Reference(dcont, (110,1), rotation=pi))
vco_buf_ryos.add(gdstk.Reference(pcont, (107,7), rotation=pi))
vco_buf_ryos.add(gdstk.Reference(dcont, (128.5,5), rotation=pi))
vco_buf_ryos.add(gdstk.Reference(pcont, (99.5,7), rotation=pi))
vco_buf_ryos.add(gdstk.Reference(pcont, (115.5,7), rotation=pi))
vco_buf_ryos.add(gdstk.Reference(dcont, (128.5,9), rotation=pi))
vco_buf_ryos.add(gdstk.Reference(pcont, (125.5,7), rotation=pi))
vco_buf_ryos.add(gdstk.Reference(dcont, (77.5,3.5), rotation=pi))
vco_buf_ryos.add(gdstk.Reference(dcont, (102.5,9), rotation=pi))
vco_buf_ryos.add(gdstk.Reference(dcont, (102.5,5), rotation=pi))
vco_buf_ryos.add(gdstk.Reference(dcont, (118.5,9), rotation=pi))
vco_buf_ryos.add(gdstk.Reference(dcont, (77.5,7.5), rotation=pi))
vco_buf_ryos.add(gdstk.Reference(psubcont, (110,-6.5), rotation=pi))
vco_buf_ryos.add(gdstk.Reference(via, (88.5,-0.5), rotation=pi))
vco_buf_ryos.add(gdstk.Reference(pcont, (89.5,5.5), rotation=pi))
vco_buf_ryos.add(gdstk.Reference(psubcont, (75.5,-9.5), rotation=pi))
vco_buf_ryos.add(gdstk.Reference(dcont, (77.5,-5.5), rotation=pi))
vco_buf_ryos.add(gdstk.Reference(dcont, (77.5,-1.5), rotation=pi))
vco_buf_ryos.add(gdstk.Reference(pcont, (80.5,-4), rotation=pi))
vco_buf_ryos.add(gdstk.Reference(dcont, (144.5,5), rotation=pi))
vco_buf_ryos.add(gdstk.Reference(dcont, (144.5,9), rotation=pi))
vco_buf_ryos.add(gdstk.Reference(pcont, (141.5,7), rotation=pi))
vco_buf_ryos.add(gdstk.Reference(psubcont, (128.5,-6.5), rotation=pi))
vco_buf_ryos.add(gdstk.Reference(psubcont, (144.5,-6.5), rotation=pi))
vco_buf_ryos.add(gdstk.Reference(via, (80.5,-6), rotation=pi))
vco_buf_ryos.add(gdstk.Reference(psubcont, (72,-9.5), rotation=pi))
vco_buf_ryos.add(gdstk.Reference(pcont, (73.5,5.5), rotation=pi))
vco_buf_ryos.add(gdstk.Reference(psubcont, (79,-9.5), rotation=pi))
vco_buf_ryos.add(gdstk.Reference(dcont, (83.5,3.5), rotation=pi))
vco_buf_ryos.add(gdstk.Reference(pcont, (89.5,5.5), rotation=pi))
vco_buf_ryos.add(gdstk.Label('VSS', (18.5,-10.5), layer=8, texttype=0))
vco_buf_ryos.add(gdstk.Label('VDD', (-5,32.5), layer=8, texttype=0))
vco_buf_ryos.add(gdstk.Label('VSS', (-13,-10.5), layer=8, texttype=0))
vco_buf_ryos.add(gdstk.Label('OUT', (145.5,17.5), layer=10, texttype=0))
vco_buf_ryos.add(gdstk.Label('Vin2', (113,16.5), layer=10, texttype=0))
vco_buf_ryos.add(gdstk.Label('IN', (-7.5,-5), layer=10, texttype=0))

lib.write_gds('vco_buf_ryos.gds')
